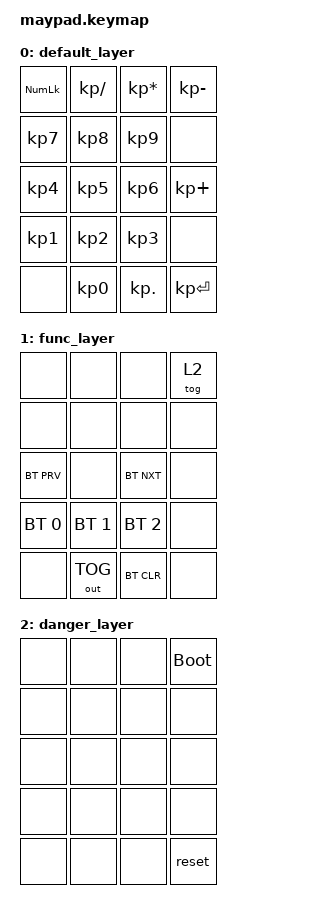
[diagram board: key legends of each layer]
/*
 * Copyright (c) 2020 The ZMK Contributors
 *
 * SPDX-License-Identifier: MIT
 */

#include <behaviors.dtsi>
#include <dt-bindings/zmk/bt.h>
#include <dt-bindings/zmk/outputs.h>
#include <dt-bindings/zmk/keys.h>

/ {
  combos {
    compatible = "zmk,combos";
    combo_func_layer {
      timeout-ms = <50>;
      key-positions = <17 19>;
      bindings = <&tog 1>;
    };
  };

  keymap {
    compatible = "zmk,keymap";

    default_layer {
      bindings = <
        &kp KP_NLCK &kp KP_DIVIDE &kp KP_MULTIPLY &kp KP_MINUS
        &kp KP_N7   &kp KP_N8     &kp KP_N9       &none
        &kp KP_N4   &kp KP_N5     &kp KP_N6       &kp KP_PLUS
        &kp KP_N1   &kp KP_N2     &kp KP_N3       &none
        &none       &kp KP_N0     &kp KP_DOT      &kp KP_ENTER
      >;
    };

    func_layer {
      bindings = <
        &none        &none         &none        &tog 2
        &none        &none         &none        &none
        &bt BT_PRV   &none         &bt BT_NXT   &none
        &bt BT_SEL 0 &bt BT_SEL 1  &bt BT_SEL 2 &none
        &none        &out OUT_TOG  &bt BT_CLR   &none
      >;
    };

    danger_layer {
      bindings = <
        &none &none &none &bootloader
        &none &none &none &none
        &none &none &none &none
        &none &none &none &none
        &none &none &none &reset
      >;
    };
  };
};
